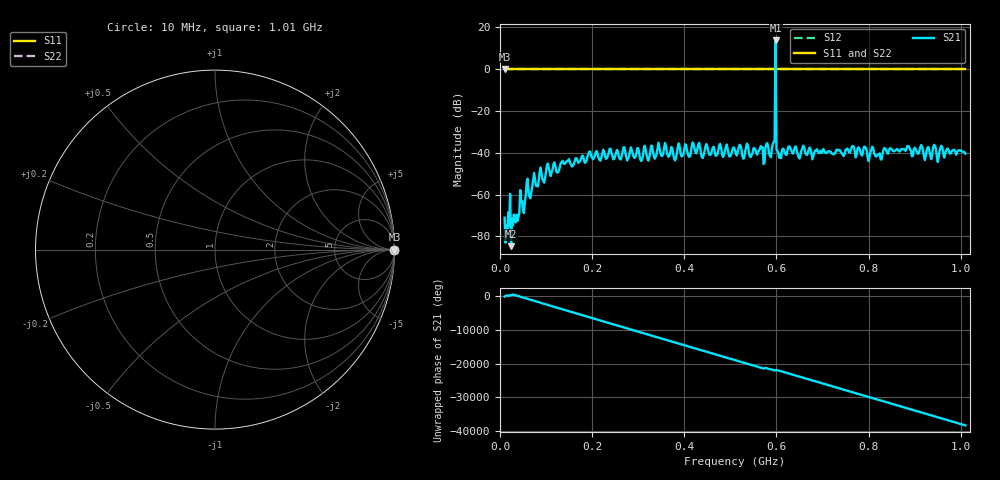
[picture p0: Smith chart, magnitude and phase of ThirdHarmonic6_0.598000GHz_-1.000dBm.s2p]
! 8/15/2025 7:29:54 PM
! C:\ANRITSUVNA\TEMP\TEMP.S2P
! CHANNEL.1
! TR.MEASUREMENT
! RAW.DATA
! RF.CORRECTION.OFF
! AVERAGING.OFF
! IF.BANDWIDTH: 5KHZ
! SWEEPTYPE:  FREQ.SWEEP(Linear)
! Reference Plane Port Info
! PORT:  PORT1  PORT2
! DISTANCE:  0  m  0  m
! TIME:  0  s  0  s
! PHASE.OFFSET:  0  deg.  0  deg.
! LOSS:  0  dB  0  dB
! REF.LOSS:  0  dB  0  dB
! REF.FREQ:  0  Hz  0  Hz
! Power Info
! POWER:  -20  dBm  -20  dBm
! EFF.POWER:  -20  dBm  -20  dBm
! SOURCE.ATTEN:  0  dB  0  dB
! TEST.ATTEN:  0  dB  0  dB
# GHZ S RI R 50.0
! FREQ.GHZ  S11RE  S11IM  S21RE  S21IM  S12RE  S12IM  S22RE  S22IM
!; PortSelection: Port_12
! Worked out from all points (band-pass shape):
!   501 points, 10 MHz to 1.01 GHz, reference 50 ohm
!   highest |S21| = 13.56 dB at 598 MHz (marker M1); lowest = -84.7 dB at 24 MHz (marker M2)
!   |S21| within 3 dB of the highest: 597.8747 MHz to 598.1147 MHz (240.1 kHz wide, 0.0401 % of centre)
!   lowest |S11| = 0.0 dB at 10 MHz (marker M3)
!   |S11| at or under -10 dB: nowhere
!   |S22| runs from 0.0 to 0.0 dB; largest |S21 - S12| = 3.8
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0.01  1 0  0.000114 -0.000254  1 0  1 0
0.024  1 0  2.37e-05 -5.34e-05  1 0  1 0
0.038  1 0  -0.000179 0.000153  1 0  1 0
0.058  1 0  0.00147 0.00135  1 0  1 0
0.066  1 0  0.000664 0.000469  1 0  1 0
0.088  1 0  -0.00323 -0.00298  1 0  1 0
0.178  1 0  -0.00822 0.0016  1 0  1 0
0.268  1 0  -0.00887 0.00999  1 0  1 0
0.306  1 0  0.00565 0.00285  1 0  1 0
0.344  1 0  0.00869 -0.0149  1 0  1 0
0.38  1 0  0.00272 -0.00593  1 0  1 0
0.42  1 0  -0.00462 0.0155  1 0  1 0
0.44  1 0  0.00626 0.00408  1 0  1 0
0.51  1 0  0.0016 0.0114  1 0  1 0
0.592  1 0  0.0123 0.0103  1 0  1 0
0.594  1 0  0.0118 -0.0133  1 0  1 0
0.598  1 0  4.688 -0.8569  1 0  1 0
0.602  1 0  0.00924 -0.0061  1 0  1 0
0.604  1 0  -0.00499 -0.00845  1 0  1 0
0.678  1 0  -0.00616 0.00319  1 0  1 0
0.844  1 0  0.00976 -0.00567  1 0  1 0
1.01  1 0  -0.00133 0.00938  1 0  1 0
